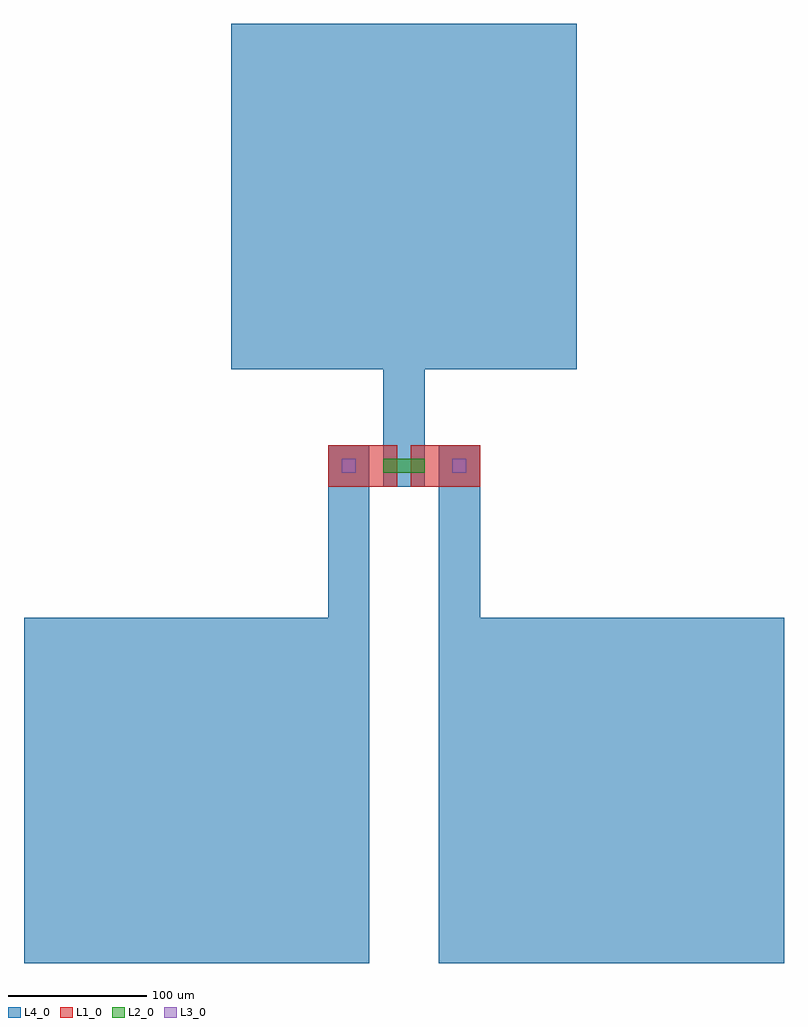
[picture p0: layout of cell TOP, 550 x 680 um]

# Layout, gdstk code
import gdstk
lib = gdstk.Library(unit=1e-6, precision=1e-09)
def R(c, l, rs):  # rectangles x0, y0, x1, y1
    for r in rs: c.add(gdstk.rectangle(r[:2], r[2:], *l))
L1_0 = (1, 0)
L2_0 = (2, 0)
L3_0 = (3, 0)
L4_0 = (4, 0)

top = lib.new_cell('TOP')
R(top, L1_0, [(696,-11324,746,-11294), (756,-11324,806,-11294)])
R(top, L2_0, [(736,-11314,766,-11304)])
R(top, L3_0, [(706,-11314,716,-11304), (786,-11314,796,-11304)])
R(top, L4_0, [(476,-11669,726,-11419), (776,-11669,1026,-11419), (696,-11419,726,-11294), (776,-11419,806,-11294), (736,-11324,766,-11239), (626,-11239,876,-10989)])

lib.write_gds('TOP.gds')
